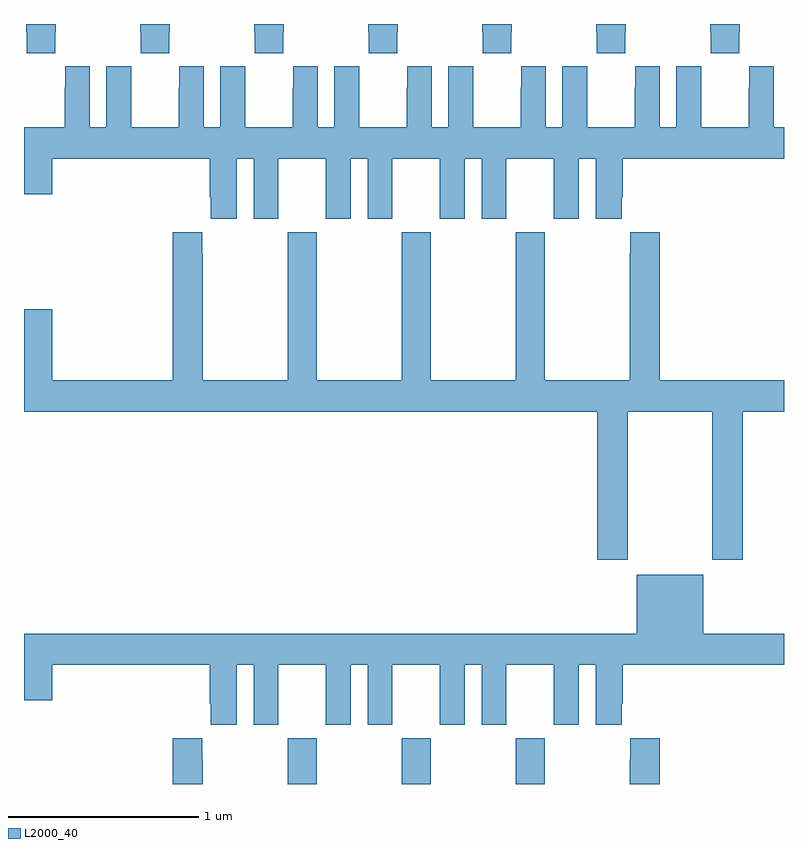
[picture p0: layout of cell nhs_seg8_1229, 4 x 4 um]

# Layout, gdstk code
import gdstk
lib = gdstk.Library(unit=1e-6, precision=1e-09)
def R(c, l, rs):  # rectangles x0, y0, x1, y1
    for r in rs: c.add(gdstk.rectangle(r[:2], r[2:], *l))
def A(c, l, x, y, w, h, nx, ny, dx, dy):  # array of equal rectangles
    R(c, l, [(x+i*dx, y+j*dy, x+i*dx+w, y+j*dy+h) for i in range(nx) for j in range(ny)])
def P(c, l, *ps):  # polygons
    for p in ps: c.add(gdstk.Polygon(p, *l))
L2000_40 = (2000, 40)

nhs_seg8_1229 = lib.new_cell('nhs_seg8_1229')
A(nhs_seg8_1229, L2000_40, 190.387, 1087.9, 0.155, 0.24, 3, 1, 0.6, 0)
P(nhs_seg8_1229, L2000_40, [(192.765,1091.857),(192.768,1091.857),(192.768,1091.9),(192.613,1091.9),(192.613,1091.857),(192.615,1091.857),(192.615,1091.745),(192.765,1091.745)],
  [(192.165,1091.857),(192.168,1091.857),(192.168,1091.9),(192.013,1091.9),(192.013,1091.857),(192.015,1091.857),(192.015,1091.745),(192.165,1091.745)],
  [(189.165,1091.857),(189.168,1091.857),(189.168,1091.9),(189.013,1091.9),(189.013,1091.857),(189.015,1091.857),(189.015,1091.745),(189.165,1091.745)],
  [(189.765,1091.857),(189.768,1091.857),(189.768,1091.9),(189.613,1091.9),(189.613,1091.857),(189.615,1091.857),(189.615,1091.745),(189.765,1091.745)],
  [(190.365,1091.857),(190.368,1091.857),(190.368,1091.9),(190.213,1091.9),(190.213,1091.857),(190.215,1091.857),(190.215,1091.745),(190.365,1091.745)],
  [(190.965,1091.857),(190.968,1091.857),(190.968,1091.9),(190.813,1091.9),(190.813,1091.857),(190.815,1091.857),(190.815,1091.745),(190.965,1091.745)],
  [(191.565,1091.857),(191.568,1091.857),(191.568,1091.9),(191.413,1091.9),(191.413,1091.857),(191.415,1091.857),(191.415,1091.745),(191.565,1091.745)],
  [(191.365,1091.564),(191.364,1091.564),(191.364,1091.677),(191.234,1091.677),(191.234,1091.356),(191.146,1091.356),(191.146,1091.677),(191.016,1091.677),(191.016,1091.564),(191.015,1091.564),(191.015,1091.356),(190.765,1091.356),(190.765,1091.564),(190.764,1091.564),(190.764,1091.677),(190.634,1091.677),(190.634,1091.356),(190.546,1091.356),(190.546,1091.677),(190.416,1091.677),(190.416,1091.564),(190.415,1091.564),(190.415,1091.356),(190.165,1091.356),(190.165,1091.564),(190.164,1091.564),(190.164,1091.677),(190.034,1091.677),(190.034,1091.356),(189.946,1091.356),(189.946,1091.677),(189.816,1091.677),(189.816,1091.564),(189.815,1091.564),(189.815,1091.356),(189.565,1091.356),(189.565,1091.564),(189.564,1091.564),(189.564,1091.677),(189.434,1091.677),(189.434,1091.356),(189.346,1091.356),(189.346,1091.677),(189.216,1091.677),(189.216,1091.564),(189.215,1091.564),(189.215,1091.356),(189,1091.356),(189,1091.004),(189.148,1091.004),(189.148,1091.192),(189.977,1091.192),(189.977,1090.987),(189.983,1090.987),(189.983,1090.875),(190.12,1090.875),(190.12,1091.192),(190.208,1091.192),(190.208,1090.875),(190.339,1090.875),(190.339,1091.192),(190.589,1091.192),(190.589,1090.875),(190.72,1090.875),(190.72,1091.192),(190.808,1091.192),(190.808,1090.875),(190.939,1090.875),(190.939,1091.192),(191.189,1091.192),(191.189,1090.875),(191.32,1090.875),(191.32,1091.192),(191.408,1091.192),(191.408,1090.875),(191.539,1090.875),(191.539,1091.192),(191.789,1091.192),(191.789,1090.875),(191.92,1090.875),(191.92,1091.192),(192.008,1091.192),(192.008,1090.875),(192.145,1090.875),(192.145,1090.987),(192.152,1090.987),(192.152,1091.192),(193,1091.192),(193,1091.356),(192.946,1091.356),(192.946,1091.677),(192.816,1091.677),(192.816,1091.564),(192.815,1091.564),(192.815,1091.356),(192.565,1091.356),(192.565,1091.564),(192.564,1091.564),(192.564,1091.677),(192.434,1091.677),(192.434,1091.356),(192.346,1091.356),(192.346,1091.677),(192.216,1091.677),(192.216,1091.564),(192.215,1091.564),(192.215,1091.356),(191.965,1091.356),(191.965,1091.564),(191.964,1091.564),(191.964,1091.677),(191.834,1091.677),(191.834,1091.356),(191.746,1091.356),(191.746,1091.677),(191.616,1091.677),(191.616,1091.564),(191.615,1091.564),(191.615,1091.356),(191.365,1091.356)],
  [(192.177,1089.86),(192.622,1089.86),(192.622,1089.081),(192.782,1089.081),(192.782,1089.86),(193,1089.86),(193,1090.024),(192.347,1090.024),(192.347,1090.804),(192.191,1090.804),(192.191,1090.691),(192.187,1090.691),(192.187,1090.024),(191.742,1090.024),(191.742,1090.804),(191.587,1090.804),(191.587,1090.024),(191.142,1090.024),(191.142,1090.804),(190.987,1090.804),(190.987,1090.024),(190.542,1090.024),(190.542,1090.804),(190.387,1090.804),(190.387,1090.024),(189.942,1090.024),(189.942,1090.691),(189.937,1090.691),(189.937,1090.804),(189.782,1090.804),(189.782,1090.024),(189.148,1090.024),(189.148,1090.399),(189,1090.399),(189,1089.86),(192.017,1089.86),(192.017,1089.081),(192.177,1089.081)],
  [(190.12,1088.528),(190.208,1088.528),(190.208,1088.211),(190.339,1088.211),(190.339,1088.528),(190.589,1088.528),(190.589,1088.211),(190.72,1088.211),(190.72,1088.528),(190.808,1088.528),(190.808,1088.211),(190.939,1088.211),(190.939,1088.528),(191.189,1088.528),(191.189,1088.211),(191.32,1088.211),(191.32,1088.528),(191.408,1088.528),(191.408,1088.211),(191.539,1088.211),(191.539,1088.528),(191.789,1088.528),(191.789,1088.211),(191.92,1088.211),(191.92,1088.528),(192.008,1088.528),(192.008,1088.211),(192.145,1088.211),(192.145,1088.323),(192.152,1088.323),(192.152,1088.528),(193,1088.528),(193,1088.692),(192.574,1088.692),(192.574,1089.001),(192.224,1089.001),(192.224,1088.692),(189,1088.692),(189,1088.34),(189.148,1088.34),(189.148,1088.528),(189.977,1088.528),(189.977,1088.323),(189.983,1088.323),(189.983,1088.211),(190.12,1088.211)],
  [(192.347,1088.14),(192.191,1088.14),(192.191,1088.027),(192.187,1088.027),(192.187,1087.9),(192.347,1087.9)],
  [(189.942,1088.027),(189.937,1088.027),(189.937,1088.14),(189.782,1088.14),(189.782,1087.9),(189.942,1087.9)])

lib.write_gds('nhs_seg8_1229.gds')
